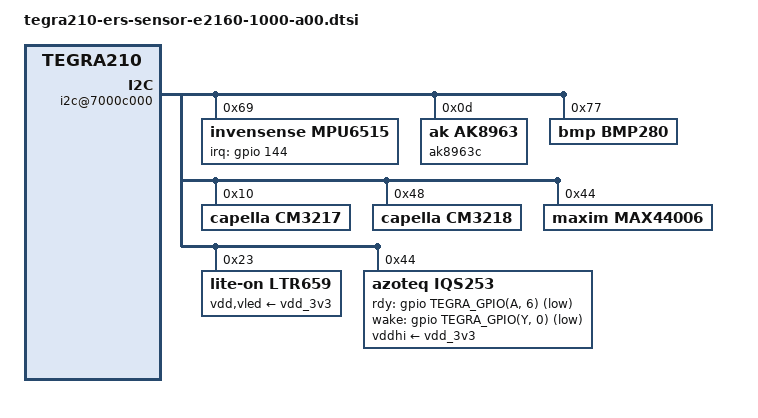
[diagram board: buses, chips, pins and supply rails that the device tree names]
#include <dt-bindings/gpio/tegra-gpio.h>

/ {
	i2c@7000c000 {
		mpu6515@69 {
			compatible = "invensense,mpu6515";
			reg = <0x69>;
			interrupt-parent = <&gpio>;
			interrupts = <144 0x01>;
			invensense,orientation = [01 00 00 00 01 00 00 00 01];
			vlogic = <&max77620_sd3>;
			vdd = <&vdd_3v3>;
		};

		ak8963c@0d {
			compatible = "ak,ak8963";
			reg = <0x0d>;
			orientation = [ff 00 00 00 01 00 00 00 ff];
			vid = <&max77620_sd3>;
			vdd = <&vdd_3v3>;
		};

		bmp280@77 {
			compatible = "bmp,bmp280";
			reg = <0x77>;
			vddio = <&max77620_sd3>;
			vdd = <&vdd_3v3>;
		};

		cm3217@10 {
			compatible = "capella,cm3217";
			reg = <0x10>;
			vdd = <&vdd_3v3>;
		};

		cm3218@48 {
			compatible = "capella,cm3218";
			reg = <0x48>;
			vdd = <&vdd_3v3>;
		};

		max44006@44 {
			compatible = "maxim,max44006";
			reg = <0x44>;
			vdd = <&vdd_3v3>;
		};

		ltr659@23 {
			compatible = "lite-on,ltr659";
			reg = <0x23>;
			threshold = <125>;
			vdd-supply = <&vdd_3v3>;
			vled-supply = <&vdd_3v3>;
		};

		iqs253@44 {
			compatible = "azoteq,iqs253";
			reg = <0x44>;
			vddhi-supply = <&vdd_3v3>;
			vendor = "Azoteq";
			proximity,max-range = "2"; /* 2 cm */
			proximity,integration-time = "16000000"; /* 16 msec */
			proximity,power-consumed = "1.67"; /* approx mA */
			rdy-gpio = <&gpio TEGRA_GPIO(A, 6) GPIO_ACTIVE_LOW>;
			wake-gpio = <&gpio TEGRA_GPIO(Y, 0) GPIO_ACTIVE_LOW>;
			/* sar-gpio = <&gpio TEGRA_GPIO(I, 2) GPIO_ACTIVE_LOW>; */ /* Fix me! */
		};
	};
};
